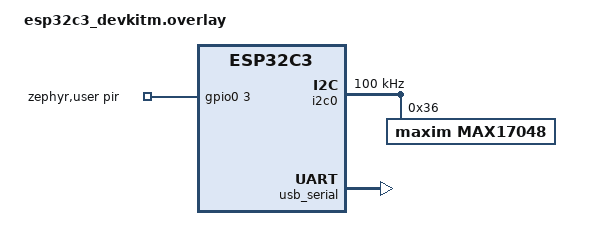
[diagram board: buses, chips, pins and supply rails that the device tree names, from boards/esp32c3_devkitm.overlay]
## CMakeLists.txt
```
cmake_minimum_required(VERSION 3.13.1)
find_package(Zephyr REQUIRED HINTS $ENV{ZEPHYR_BASE})
project(pir_ble)
# Trinity split -- each file can be swapped for a stub independently.
#
# Dependency order (strict -- never invert):
#   wdt_esp    -> standalone
#   canary_esp -> standalone
#   flash_esp  -> canary (noinit vars)
#   stats_esp  -> flash (via trinity_log_event), wdt
#   fault_esp  -> flash (via write_panic), canary (via g_init_stage)
target_sources(app PRIVATE
    src/main.c
    src/pir_hw_zephyr.c
    src/trinity_nvs_esp.c
    src/ble_adv.c
    src/max17048.c
    src/build_info.c
    src/trinity_wdt_esp.c
    src/trinity_canary_esp.c
    src/trinity_flash_esp.c
    src/trinity_stats_esp.c
    src/trinity_fault_esp.c
)

target_include_directories(app PRIVATE
    ../../../include
)
```

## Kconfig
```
# Application Kconfig — must source Zephyr main Kconfig first
source "Kconfig.zephyr"
source "$(APPLICATION_SOURCE_DIR)/Kconfig.trinity"

choice TRINITY_MODE
    prompt "Output transport"
    default TRINITY_MODE_FIELD
config TRINITY_MODE_FIELD
    bool "Field — UART console + reset"
config TRINITY_MODE_BENCH
    bool "Bench — RTT + SWD halt (J-Link)"
config TRINITY_MODE_USB
    bool "USB — CDC ACM (/dev/ttyACM0)"
endchoice
config TRINITY_MODE_STR
    string
    default "BENCH" if TRINITY_MODE_BENCH
    default "USB"   if TRINITY_MODE_USB
    default "FIELD"
```

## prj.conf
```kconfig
CONFIG_TRINITY_CHIP_ESP32C3=y
# Console and Logging
CONFIG_CONSOLE=y
CONFIG_PRINTK=y
CONFIG_LOG=y
CONFIG_LOG_MODE_DEFERRED=y
CONFIG_LOG_DEFAULT_LEVEL=3
# GPIO
CONFIG_GPIO=y
# I2C
CONFIG_I2C=y
# Bluetooth
CONFIG_BT=y
CONFIG_BT_PERIPHERAL=y
CONFIG_BT_DEVICE_NAME="PIR_Motion"
CONFIG_BT_SMP=n
CONFIG_BT_BROADCASTER=y
CONFIG_BT_OBSERVER=n
CONFIG_BT_GATT_SERVICE_CHANGED=n
# ========================= BLE ADDRESS =======================================
# CONFIG_BT_PRIVACY=n forces a static public address on every boot.
# Without this, Zephyr defaults to a Resolvable Private Address (RPA) that
# rotates on each advertising start. The ESP32 hub matches PIR slots by MAC
# address -- a rotating MAC causes the hub to treat each wake as a new
# device, fill the PIR slot table, and drop all subsequent advertisements
# until the old slot ages out (~170s). Static address eliminates the churn.
# PIR is a non-connectable broadcaster so there is no privacy benefit to RPA.
CONFIG_BT_PRIVACY=n
# Flash storage
CONFIG_FLASH=y
CONFIG_FLASH_MAP=y
CONFIG_FLASH_PAGE_LAYOUT=y
CONFIG_STREAM_FLASH=y
CONFIG_REBOOT=y
# ========================= POWER MANAGEMENT ==================================
# Deep sleep is implemented via ESP-IDF API (esp_deep_sleep_start) directly.
# Zephyr CONFIG_PM does NOT reach true deep sleep on ESP32-C3 and adds
# overhead without benefit -- do not enable it.
# USB console is incompatible with deep sleep -- field build uses UART only.
# Bench build disables deep sleep via bench.conf.
#
# NOTE: CONFIG_PM=y is required for CONFIG_POWEROFF=y to compile -- the
# Zephyr build system gates POWEROFF behind PM. CONFIG_PM itself does not
# activate Zephyr power management on ESP32-C3; esp_deep_sleep_start() is
# called directly via ESP-IDF and bypasses the Zephyr PM layer entirely.
# Effectively CONFIG_PM=y here is a build dependency, not a behavioral one.
#
# NOTE: CONFIG_POWEROFF=y was found required via grep during NVS integration
# work (2026-05-03). esp_deep_sleep_start() pulls in poweroff symbols at
# link time on this Zephyr/ESP32-C3 toolchain version. Without it the build
# fails with undefined reference errors. Not a runtime dependency -- purely
# a linker requirement for the ESP-IDF deep sleep path under Zephyr.
CONFIG_PM=y
CONFIG_POWEROFF=y
# ========================= TRINITY FAULT COVERAGE ============================
CONFIG_THREAD_NAME=y
CONFIG_THREAD_STACK_INFO=y
CONFIG_INIT_STACKS=y
# ========================= TRINITY WATCHDOG ==================================
CONFIG_WATCHDOG=y
CONFIG_WDT_DISABLE_AT_BOOT=n
# ========================= TRINITY HEAP STATS ================================
CONFIG_SYS_HEAP_RUNTIME_STATS=y
CONFIG_HEAP_MEM_POOL_SIZE=32768
# ========================= TRINITY THREAD STATS ==============================
CONFIG_THREAD_ANALYZER=y
CONFIG_THREAD_ANALYZER_USE_PRINTK=n
CONFIG_THREAD_ANALYZER_AUTO=n
CONFIG_THREAD_RUNTIME_STATS=y
# ========================= STACK SIZES =======================================
CONFIG_SYSTEM_WORKQUEUE_STACK_SIZE=3072
CONFIG_MAIN_STACK_SIZE=2048
CONFIG_ISR_STACK_SIZE=4096
CONFIG_LOG_PROCESS_THREAD_STACK_SIZE=2048
# ========================= NVS ===============================================
CONFIG_NVS=y
CONFIG_FLASH=y
CONFIG_FLASH_MAP=y
CONFIG_MPU_ALLOW_FLASH_WRITE=y
CONFIG_HW_STACK_PROTECTION=y
```

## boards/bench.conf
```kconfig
# Bench mode — USB-JTAG console, no deep sleep
#
# NOTE: USB console is incompatible with deep sleep. The USB peripheral
#       loses power during sleep and the connection drops every cycle.
#       Deep sleep is disabled here by design -- use the field build
#       (west build without EXTRA_CONF_FILE) for power profiling.
#       Do not enable CONFIG_PM or call esp_deep_sleep_start() in bench mode.
CONFIG_CONSOLE=y
CONFIG_UART_CONSOLE=y
CONFIG_LOG_BACKEND_UART=y
CONFIG_USB_DEVICE_STACK_NEXT=n
CONFIG_USBD_CDC_ACM_CLASS=n
CONFIG_PM=n
```

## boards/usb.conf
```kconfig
# USB CDC mode — console on /dev/ttyACM0
CONFIG_CONSOLE=y
CONFIG_UART_CONSOLE=y
CONFIG_USB_DEVICE_STACK_NEXT=y
CONFIG_USBD_CDC_ACM_CLASS=y
CONFIG_LOG_PROCESS_THREAD_STARTUP_DELAY_MS=4000
```

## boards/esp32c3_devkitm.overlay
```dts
/ {
    zephyr,user {
        pir_gpios = <&gpio0 3 (GPIO_ACTIVE_HIGH)>;
    };

    chosen {
        zephyr,console = &usb_serial;
        zephyr,shell-uart = &usb_serial;
    };
};

&i2c0 {
    status = "okay";
    pinctrl-0 = <&i2c0_default>;
    pinctrl-names = "default";
    clock-frequency = <I2C_BITRATE_STANDARD>;

    max17048: max17048@36 {
        compatible = "maxim,max17048";
        reg = <0x36>;
    };
};

&pinctrl {
    i2c0_default: i2c0_default {
        group1 {
            pinmux = <I2C0_SDA_GPIO6>,
                     <I2C0_SCL_GPIO7>;
            bias-pull-up;
            drive-open-drain;
        };
    };
};

&usb_serial {
    status = "okay";
};

/* COMMENTED OUT - Testing USB-JTAG console
&uart0 {
    status = "okay";
    current-speed = <115200>;
    pinctrl-0 = <&uart0_default>;
    pinctrl-names = "default";
};

&pinctrl {
    uart0_default: uart0_default {
        group1 {
            pinmux = <UART0_TX_GPIO21>;
        };
        group2 {
            pinmux = <UART0_RX_GPIO20>;
            bias-pull-up;
        };
    };
};
*/

&flash0 {
    partitions {
        compatible = "fixed-partitions";
        #address-cells = <1>;
        #size-cells = <1>;

        /*
         * storage_partition -- owned by trinity_nvs_esp.c (NVS).
         *
         * Used for persistent counters that must survive deep sleep
         * cycles. motion_count is stored here because RTC_DATA_ATTR
         * is a no-op on this Zephyr/ESP32-C3 toolchain combination --
         * the linker script has no .rtc.data section so variables
         * silently land in DRAM and reset to 0 on every wake.
         *
         * 176KB gives decades of NVS write endurance at 100 PIR
         * events/day. Do not place trinity flash log entries here --
         * that uses log_partition below (raw flash_area API, no NVS).
         */
        storage_partition: partition@3b0000 {
            label = "storage";
            reg = <0x3b0000 0x2C000>;
        };

        /*
         * log_partition -- owned by trinity_flash_esp.c (raw flash).
         *
         * Trinity crash log and event log. Uses flash_area API directly,
         * not NVS. Intentionally separate from storage_partition to
         * avoid any possibility of NVS sector management overwriting
         * crash log entries. Do not mount NVS on this partition.
         */
        log_partition: partition@3dc000 {
            label = "log-partition";
            reg = <0x3dc000 0x4000>;
        };
    };
};
```

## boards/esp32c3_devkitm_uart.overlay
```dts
/ {
    zephyr,user {
        pir_gpios = <&gpio0 3 (GPIO_ACTIVE_HIGH)>;
    };
    chosen {
        zephyr,console = &uart0;
        zephyr,shell-uart = &uart0;
    };
};

&i2c0 {
    status = "okay";
    pinctrl-0 = <&i2c0_default>;
    pinctrl-names = "default";
    clock-frequency = <I2C_BITRATE_STANDARD>;
    max17048: max17048@36 {
        compatible = "maxim,max17048";
        reg = <0x36>;
    };
};

&pinctrl {
    i2c0_default: i2c0_default {
        group1 {
            pinmux = <I2C0_SDA_GPIO6>,
                     <I2C0_SCL_GPIO7>;
            bias-pull-up;
            drive-open-drain;
        };
    };
    uart0_default: uart0_default {
        group1 {
            pinmux = <UART0_TX_GPIO21>;
        };
        group2 {
            pinmux = <UART0_RX_GPIO20>;
            bias-pull-up;
        };
    };
};

&uart0 {
    status = "okay";
    current-speed = <115200>;
    pinctrl-0 = <&uart0_default>;
    pinctrl-names = "default";
};

&usb_serial {
    status = "disabled";
};

/* Log partition — 64KB at end of 4MB flash for flash_log / fatal_hook */
&flash0 {
    partitions {
        compatible = "fixed-partitions";
        #address-cells = <1>;
        #size-cells = <1>;

        log_partition: partition@3f0000 {
            label = "log-partition";
            reg = <0x003f0000 0x00010000>;
        };
    };
};
```

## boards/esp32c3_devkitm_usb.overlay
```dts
/ {
    zephyr,user {
        pir_gpios = <&gpio0 3 GPIO_ACTIVE_HIGH>;
    };
    chosen {
        zephyr,console = &usb_serial;
        zephyr,shell-uart = &usb_serial;
    };
};

&i2c0 {
    status = "okay";
    pinctrl-0 = <&i2c0_default>;
    pinctrl-names = "default";
    clock-frequency = <I2C_BITRATE_STANDARD>;
    max17048: max17048@36 {
        compatible = "maxim,max17048";
        reg = <0x36>;
    };
};

&pinctrl {
    i2c0_default: i2c0_default {
        group1 {
            pinmux = <I2C0_SDA_GPIO6>,
                     <I2C0_SCL_GPIO7>;
            bias-pull-up;
            drive-open-drain;
        };
    };
};

&usb_serial {
    status = "okay";
};

&flash0 {
    partitions {
        compatible = "fixed-partitions";
        #address-cells = <1>;
        #size-cells = <1>;
        log_partition: partition@3f0000 {
            label = "log-partition";
            reg = <0x003f0000 0x00010000>;
        };
    };
};
```

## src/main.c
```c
/******************************************************************************
 * \file    main.c
 * \author  MichaelLynnCSU (https://github.com/MichaelLynnCSU)
 * \date    01-01-2025
 *
 * \brief   ESP32-C3 PIR BLE motion sensor entry point.
 *
 * \details Deep sleep architecture. main() runs once per wake cycle,
 *          detects wake reason, advertises a burst, configures wake
 *          sources, then calls esp_deep_sleep_start(). Every wake is
 *          a full reboot -- there is no main loop.
 *
 *          Wake sources (configured every cycle):
 *          - GPIO3 (PIR)  -- event-driven, wakes on HIGH
 *          - RTC timer    -- periodic heartbeat, DEEP_SLEEP_INTERVAL_US
 *
 *          Burst duration:
 *          - PIR wake     -- ADV_BURST_PIR_MS   (2000ms)
 *          - Timer wake   -- ADV_BURST_TIMER_MS  (300ms)
 *          - First boot   -- ADV_BURST_TIMER_MS  (300ms)
 *
 *          Occupied flag:
 *          Set in MFG payload byte[7] on PIR wake, clear on timer wake.
 *          Hub owns all occupancy window and timeout logic -- no sliding
 *          window on device. State resets every wake by design.
 *
 * \note    Architecture (2026-05-03):
 *          Sliding window occupancy logic moved to hub.
 *          Motivation: always-on BLE stack idles at ~52mA, limiting a
 *          3000mAh cell to ~57 hours (2.4 days). Deep sleep architecture
 *          measured at 19.93mA average over full wake/advertise/sleep
 *          cycles (PPK2, nRF Power Profiler), extending runtime to
 *          ~150 hours (~6.3 days) on the same cell. 2.6x improvement.
 *
 *          Device is now stateless per wake:
 *          - PIR wake   -> occupied=1, motion_count++, 2s burst, sleep
 *          - Timer wake -> occupied=0, 300ms burst, sleep
 *          Hub uses motion_count (monotonic, NVS-persistent) to detect
 *          missed BLE packets and owns all occupancy timeout logic.
 *          No window state is kept on device -- intentional by design.
 *
 * \note    WDT (2026-03-23):
 *          trinity_wdt_kick() called before any blocking operation.
 *          WDT timeout is 3s. Kick is issued immediately before the
 *          burst sleep to isolate the window to burst_ms only.
 *          Mid-burst kick fires if burst_ms >= WDT_TIMEOUT_MS.
 *
 * \note    Deep sleep power (2026-05-03):
 *          Always-on BLE advertising on ESP32-C3 idles at ~52mA due to
 *          the BLE stack requiring CPU involvement. Deep sleep drops
 *          average current to 19.93mA measured over real wake cycles.
 *          esp_deep_sleep_start() is __noreturn__ -- every wake is a
 *          full cold boot. Zephyr PM layer (CONFIG_PM) does not reach
 *          true deep sleep on ESP32-C3; use ESP-IDF API directly.
 *          CONFIG_PM=n in bench.conf -- USB console is incompatible with
 *          deep sleep (USB peripheral loses power during sleep).
 *
 * \note    Motion count persistence (2026-05-03):
 *          motion_count persisted via NVS (trinity_nvs_esp.c) on every
 *          confirmed PIR wake. Survives deep sleep cycles, resets only
 *          on power-on or hard reset.
 *
 *          RTC_DATA_ATTR was attempted first and does not work on this
 *          toolchain/Zephyr version. See CHANGELOG below for full details.
 *
 *          Hub uses delta between received motion_count values to detect
 *          missed BLE packets during lossy periods.
 *          All other state resets on every wake by design.
 *
 * \note    GPIO level-wake settle (2026-05-21):
 *          ESP_GPIO_WAKEUP_GPIO_HIGH is level-triggered. The AM312 holds
 *          its output HIGH for ~2-3s after firing. enter_deep_sleep()
 *          waits up to PIR_PIN_SETTLE_MS (2500ms) for GPIO3 to return
 *          LOW before arming the wake source, with trinity_wdt_kick()
 *          called on every 10ms iteration to prevent WDT expiry during
 *          the wait. If the pin does not settle (genuine sustained motion)
 *          sleep proceeds anyway -- correct behaviour.
 *
 * \note    Boot loop root cause (2026-05-21):
 *          Both sensors exhibited ~500 rapid boot cycles per sleep cycle.
 *          Root cause was flash corruption: the ESP simple bootloader
 *          stored a zeroed SHA-256 expected hash, causing a degraded boot
 *          path that re-triggered immediately after every deep sleep entry.
 *          Fix: full chip erase (esptool erase-flash) followed by reflash.
 *          The settle loop above is a separate improvement that prevents
 *          a real GPIO-level wake loop if the AM312 pin is still HIGH at
 *          sleep entry, but was not the cause of the ~500 cycle loop.
 *
 *****************************************************************************
 * CHANGELOG
 *
 * 2026-05-21 — Bug: ~500 cycle boot loop on every sleep entry
 *   PROBLEM:  Both PIR sensors looped ~500 rapid boot cycles between every
 *             real sleep cycle, visible as 400-500 dropped WDT messages in
 *             the trinity log. PIR 2 appeared worse because its battery was
 *             dead, making each loop iteration slightly longer. Extensive
 *             isolation testing ruled out: GPIO wake API, bt_disable(),
 *             WDT timing, DEEP_SLEEP_INTERVAL_US, and all application code.
 *             Root cause: flash corruption. The ESP simple bootloader had a
 *             zeroed SHA-256 expected hash (0000000090a30000...) indicating
 *             the bootloader metadata region had been partially overwritten,
 *             likely from repeated power-loss mid-write cycles during the
 *             low-battery boot loop on PIR 2. The degraded boot path reset
 *             the chip before the RTC timer could count, producing the loop.
 *   FIX:      Full chip erase followed by clean reflash on both units:
 *               esptool --port /dev/ttyACM0 erase-flash
 *               west flash --esp-device /dev/ttyACM0
 *             Boot loop eliminated. SHA-256 mismatch line still appears
 *             on every boot -- this is a known Zephyr ESP simple bootloader
 *             behaviour where the expected hash field is never populated at
 *             build time. It is cosmetic; boot proceeds correctly.
 *
 * 2026-05-21 — Improvement: GPIO3 settle wait before sleep
 *   PROBLEM:  ESP_GPIO_WAKEUP_GPIO_HIGH is level-triggered. The AM312
 *             holds its output HIGH for ~2-3s after a motion event. If
 *             esp_deep_sleep_start() is called before that window expires
 *             the chip wakes instantly on every cycle. This was masked by
 *             the flash corruption boot loop but would have reappeared
 *             after the erase fix under high motion conditions.
 *   FIX:      enter_deep_sleep() now waits up to PIR_PIN_SETTLE_MS
 *             (2500ms) for GPIO3 to go LOW before arming the wake source.
 *             trinity_wdt_kick() called on every 10ms iteration so the
 *             full wait window never trips the 3s watchdog.
 *
 * 2026-05-03 — Hardware: AM312 PIR false trigger fix
 *   PROBLEM:  GPIO3 read 1.28V only when physically touching the wire or
 *             board -- not the PIR firing. Body capacitance was sufficient
 *             to lift a floating pin to ~1.28V, which crossed the ESP32-C3
 *             GPIO HIGH threshold and triggered a spurious wake. A properly
 *             driven signal would jump to 2.6-3V and hold there -- the
 *             1.28V that only appeared on touch confirmed no actual driver
 *             on the line.
 *             AM312 OUT measured 2.6V when disconnected from ESP32,
 *             collapsed to 1.28V the moment it was connected to GPIO3.
 *             Root cause: AM312 output is essentially open-drain with a
 *             weak internal pull-up. It cannot source enough current to
 *             overcome the ESP32-C3 internal pull-down (~45kΩ). The two
 *             were fighting and the pull-down was winning -- any real
 *             motion signal was also being suppressed.
 *   FIX:      Disabled the internal pull-down on GPIO3. AM312 now drives
 *             cleanly to 2.6-3V on motion, returns to 0V at idle.
 *             Debounce check (10ms settle + PIN re-read) retained in
 *             software to catch any residual transient wakes.
 *
 * 2026-05-03 — Architecture: always-on BLE -> deep sleep
 *   PROBLEM:  Always-on BLE advertising required continuous CPU involvement
 *             on ESP32-C3, idling at ~52mA average. On a 3000mAh cell this
 *             gives ~57 hours (2.4 days) of runtime.
 *   FIX:      Replaced always-on loop with deep sleep architecture.
 *             main() runs once per wake cycle, advertises a short burst,
 *             then calls esp_deep_sleep_start() (noreturn). Every wake is
 *             a full cold boot. Wake sources: GPIO3 (PIR) and RTC timer
 *             (30s heartbeat). Average current measured at 19.93mA over
 *             a 3m49s sample window capturing full wake/advertise/sleep
 *             cycles (PPK2, nRF Power Profiler). Runtime on 3000mAh cell:
 *             ~150 hours (~6.3 days). 2.6x improvement over always-on.
 *             CONFIG_PM=n -- Zephyr PM layer does not reach true deep sleep
 *             on ESP32-C3. ESP-IDF esp_deep_sleep_start() used directly.
 *
 * 2026-05-03 — Bug: motion_count not persisting across deep sleep
 *   PROBLEM:  motion_count declared as `static RTC_DATA_ATTR uint32_t`.
 *             The `static` storage class caused the compiler to commit the
 *             symbol to DRAM first; RTC_DATA_ATTR section attribute was
 *             silently ignored. Boot log confirmed: `load:0x50000000,
 *             len:0xc` (12 bytes in RTC -- only the wake stub, not
 *             motion_count). DRAM is reloaded from flash on every deep
 *             sleep wake so motion_count reset to 0 every boot and count
 *             always showed 1.
 *             Root cause: Zephyr ESP32-C3 linker script has no proper
 *             .rtc.data section. RTC_DATA_ATTR is a no-op for data
 *             variables in this toolchain/Zephyr version combination.
 *   FIX:      Removed RTC_DATA_ATTR entirely. Added trinity_nvs_esp.c --
 *             a dedicated NVS persistence module using storage_partition
 *             (0x3b0000, 176KB). motion_count is read from NVS on every
 *             wake and written to NVS only on confirmed PIR wakes.
 *
 * 2026-05-03 — Hardware: AM312 false triggers on battery power
 *   PROBLEM:  PIR count incrementing with no movement when running on
 *             battery. AM312 was physically close to the LiPo cell.
 *             Battery warms under load (BLE TX, flash writes) and the
 *             thermal change falls within the AM312 detection cone.
 *   FIX:      Moved AM312 away from battery. Keep PIR and LiPo thermally
 *             separated in final enclosure.
 ******************************************************************************/

#include <zephyr/kernel.h>
#include <zephyr/device.h>
#include <zephyr/drivers/i2c.h>
#include <zephyr/logging/log.h>
#include <string.h>
#include <esp_sleep.h>
#include "pir_hw.h"
#include "ble_adv.h"
#include "max17048.h"
#include "trinity_log.h"
#include "main.h"

LOG_MODULE_REGISTER(pir_main, LOG_LEVEL_INF);

#define PIR_PIN           3
#define PIR_PIN_SETTLE_MS 2500u

/*----------------------------------------------------------------------------*/

static void enter_deep_sleep(void)
{
    trinity_wdt_kick();
    int settle_ms = (int)PIR_PIN_SETTLE_MS;
    while ((pir_hw_read() == 1) && (settle_ms > 0))
    {
        k_sleep(K_MSEC(10));
        settle_ms -= 10;
        trinity_wdt_kick();
    }
    if (settle_ms < (int)PIR_PIN_SETTLE_MS)
    {
        LOG_INF("GPIO3 settle wait: %dms",
                (int)PIR_PIN_SETTLE_MS - settle_ms);
    }

    esp_sleep_enable_timer_wakeup(DEEP_SLEEP_INTERVAL_US);
    esp_deep_sleep_enable_gpio_wakeup(1ULL << PIR_PIN,
                                       ESP_GPIO_WAKEUP_GPIO_HIGH);

    LOG_INF("Entering deep sleep (timer=%llu us, GPIO%d wake)",
            (unsigned long long)DEEP_SLEEP_INTERVAL_US, PIR_PIN);

    trinity_log_flush();
    esp_deep_sleep_start(); /* noreturn */
}

/*----------------------------------------------------------------------------*/

int main(void)
{
    int      ret       = 0;
    int      mv        = 0;
    uint8_t  batt_soc  = 0;
    uint8_t  occupied  = 0;
    uint32_t burst_ms  = 0;

    esp_sleep_wakeup_cause_t wake_reason = esp_sleep_get_wakeup_cause();

    LOG_INF("===========================================");
    LOG_INF("  ESP32-C3 PIR BLE Motion Sensor");
    LOG_INF("  Wake: %d", (int)wake_reason);
    LOG_INF("===========================================");

    trinity_log_dump_previous();
    trinity_log_init();
    trinity_wdt_init();
    trinity_wdt_kick();

    /* --- EMERGENCY I2C DIAGNOSTIC SCAN --- */
    const struct device *const i2c_dev = DEVICE_DT_GET(DT_NODELABEL(i2c0));
    if (!device_is_ready(i2c_dev)) {
        LOG_ERR("[I2C SCAN] Peripheral device i2c0 is NOT ready!");
    } else {
        LOG_INF("[I2C SCAN] Starting bus scan on i2c0...");
        uint8_t dummy_rx;
        int found_count = 0;
        for (uint8_t addr = 0x01; addr <= 0x7F; addr++) {
            struct i2c_msg msgs[1];
            msgs[0].buf   = &dummy_rx;
            msgs[0].len   = 0;
            msgs[0].flags = I2C_MSG_WRITE | I2C_MSG_STOP;
            if (i2c_transfer(i2c_dev, msgs, 1, addr) == 0) {
                LOG_INF("[I2C SCAN] >>> Found at 0x%02X <<<", addr);
                found_count++;
            }
        }
        if (found_count == 0) {
            LOG_WRN("[I2C SCAN] Zero devices responded.");
        } else {
            LOG_INF("[I2C SCAN] Found %d device(s).", found_count);
        }
    }
    /* --- END DIAGNOSTIC SCAN --- */

    trinity_nvs_init();
    uint32_t motion_count = trinity_nvs_read_motion_count();

    ret = pir_hw_init();
    if (0 != ret)
    {
        LOG_ERR("GPIO not ready");
        enter_deep_sleep();
        return 0;
    }

    switch (wake_reason)
    {
        case ESP_SLEEP_WAKEUP_GPIO:
            k_sleep(K_MSEC(10));
            if (pir_hw_read() != 1)
            {
                LOG_WRN("GPIO wake but PIN low -- false trigger");
                occupied = 0;
                burst_ms = ADV_BURST_TIMER_MS;
                break;
            }
            motion_count++;
            trinity_nvs_write_motion_count(motion_count);
            occupied = 1;
            burst_ms = ADV_BURST_PIR_MS;
            trinity_log_event("EVENT: MOTION\n");
            LOG_INF("PIR wake -- motion detected (count=%u)", motion_count);
            break;

        case ESP_SLEEP_WAKEUP_TIMER:
            occupied = 0;
            burst_ms = ADV_BURST_TIMER_MS;
            LOG_INF("Timer wake -- heartbeat");
            break;

        default:
            occupied = 0;
            burst_ms = ADV_BURST_TIMER_MS;
            trinity_log_event("EVENT: BOOT\n");
            LOG_INF("Cold boot");
            break;
    }

    trinity_wdt_kick();

    max17048_init();
    batt_soc = (uint8_t)max17048_read_soc();
    mv       = max17048_read_mv();
    LOG_INF("Battery: %d%% (%d mV)", batt_soc, mv);
    LOG_INF("Advertising %ums | count=%u occ=%d batt=%d%%",
            burst_ms, motion_count, occupied, batt_soc);

    trinity_wdt_kick();

    ret = ble_adv_init(motion_count, batt_soc, occupied);
    if (0 != ret)
    {
        LOG_ERR("BLE init failed (%d) -- sleeping", ret);
        enter_deep_sleep();
        return 0;
    }
    trinity_wdt_kick();

    if (burst_ms >= WDT_TIMEOUT_MS)
    {
        k_sleep(K_MSEC(burst_ms / 2U));
        trinity_wdt_kick();
        k_sleep(K_MSEC(burst_ms / 2U));
    }
    else
    {
        k_sleep(K_MSEC(burst_ms));
    }

    trinity_wdt_kick();

    bt_disable();

    enter_deep_sleep(); /* noreturn */

    return 0;
}
```

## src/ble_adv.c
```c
/******************************************************************************
 * \file    ble_adv.c
 * \author  MichaelLynnCSU (https://github.com/MichaelLynnCSU)
 * \date    01-01-2025
 *
 * \brief   BLE advertising for ESP32-C3 PIR motion sensor node.
 *
 * \details Non-connectable broadcaster. Manufacturer data payload carries
 *          motion count (4 bytes), battery SOC (1 byte), occupied flag
 *          (1 byte), and tx_id (2 bytes). Device advertises a single burst
 *          per wake then sleeps.
 *
 *          Occupancy window and timeout logic live entirely on the hub.
 *          motion_count is monotonic (RTC-persistent) -- hub uses delta
 *          between packets to detect missed events during BLE lossy periods.
 *
 *          MFG data layout (10 bytes):
 *          [0]   = 0xFF  (company ID low  -- no registered ID, sentinel)
 *          [1]   = 0xFF  (company ID high)
 *          [2]   = motion_count >> 24
 *          [3]   = motion_count >> 16
 *          [4]   = motion_count >>  8
 *          [5]   = motion_count & 0xFF
 *          [6]   = batt_soc (0-100%)
 *          [7]   = occupied (0=empty, 1=occupied)
 *          [8]   = tx_id low byte  (little-endian)
 *          [9]   = tx_id high byte (little-endian)
 *
 * \note    BT_SMP disabled (2026-03-23):
 *          CONFIG_BT_SMP=n -- PIR is broadcaster-only, no pairing needed.
 *          Null SMP callbacks are a KERNEL_OOPS vector if a phone attempts
 *          pairing. Matches the fix applied to reed-sensor.
 *
 * \note    AD flags (2026-05-03):
 *          BT_LE_AD_GENERAL removed -- General Discoverable Mode implies
 *          a connectable GAP role and violates the BT spec for a
 *          non-connectable broadcaster. BT_LE_AD_NO_BREDR (0x04) only.
 *
 * \note    Structured event tracing -- tx_id (2026-06-16):
 *          s_tx_id counter added. Incremented on every ble_adv_init() call
 *          (one per wake cycle). Stamped into mfg_data[8..9] little-endian
 *          before advertising starts. Hub reads it from mfg_data[8..9] with
 *          mfg_len >= 10 guard. Older hub firmware ignores extra bytes.
 *
 *          tx_id is a per-wake-session counter (RAM only, resets each boot).
 *          Correlation key is (MAC + tx_id) within a bounded time window.
 *          It is NOT a global unique message ID -- do not use for dedup or
 *          audit. Log lines on both sides share the same key:
 *
 *            [ble_adv] tx_id=1 count=42 batt=87%
 *            [BLE_PIR] tx_id=1 event_id=101 slot=0 count=42 batt=87%
 *
 *          To apply this pattern to the next device type:
 *          1. Add MFG_TX_ID_LO_IDX / HI_IDX defines in main.h.
 *          2. Grow MFG_DATA_SIZE by 2 in main.h.
 *          3. Add s_tx_id static here, increment before payload write.
 *          4. Stamp [LO] and [HI] bytes, LOG_INF tx_id=.
 *          5. Hub side: guard on mfg_len >= (HI_IDX + 1), default 0.
 ******************************************************************************/
#include "ble_adv.h"
#include "main.h"
#include <zephyr/bluetooth/bluetooth.h>
#include <zephyr/bluetooth/hci.h>
#include <zephyr/bluetooth/addr.h>
#include <zephyr/logging/log.h>
#include <string.h>

LOG_MODULE_REGISTER(ble_adv, LOG_LEVEL_INF);

static uint16_t s_tx_id = 0; /**< per-wake-session broadcast counter; RAM only,
                               *   resets each boot. Not a global unique ID.   */

static uint8_t mfg_data[MFG_DATA_SIZE] = {
    MFG_COMPANY_ID_0,
    MFG_COMPANY_ID_1,
    0x00, 0x00, 0x00, 0x00,  /* motion count -- zeroed until ble_adv_init()   */
    0x00,                     /* batt soc                                       */
    0x00,                     /* occupied                                       */
    0x00,                     /* tx_id low byte                                 */
    0x00                      /* tx_id high byte                                */
};

static struct bt_data adv_data[] = {
    /* BT_LE_AD_GENERAL intentionally absent -- broadcaster-only, non-connectable */
    BT_DATA_BYTES(BT_DATA_FLAGS, BT_LE_AD_NO_BREDR),
    BT_DATA(BT_DATA_NAME_COMPLETE, CONFIG_BT_DEVICE_NAME,
            sizeof(CONFIG_BT_DEVICE_NAME) - 1),
    BT_DATA(BT_DATA_MANUFACTURER_DATA, mfg_data, sizeof(mfg_data))
};

/* BT_LE_ADV_OPT_USE_IDENTITY fix (2026-05-20):
 * BT_LE_ADV_OPT_NONE allowed Zephyr to advertise with a randomly generated
 * address on each wake cycle regardless of CONFIG_BT_PRIVACY=n. The ESP32
 * hub matches PIR slots by MAC -- a rotating MAC caused the hub to treat
 * each wake as a new device, fill the PIR slot table (MAX_PIRS=2), and drop
 * all subsequent advertisements until the old slot aged out (~170s).
 * BT_LE_ADV_OPT_USE_IDENTITY forces the chip to use its static identity
 * address (set once at provisioning) for every advertisement. Matches the
 * pattern used by reed-sensor/src/ble_adv.c. */
static const struct bt_le_adv_param adv_param = {
    .id           = BT_ID_DEFAULT,
    .options      = BT_LE_ADV_OPT_USE_IDENTITY,
    .interval_min = BT_GAP_ADV_SLOW_INT_MIN,
    .interval_max = BT_GAP_ADV_SLOW_INT_MAX,
};

/*----------------------------------------------------------------------------*/

static void print_mac(void)
{
    bt_addr_le_t id_addr;
    size_t       count = 1;
    char         addr_str[BT_ADDR_LE_STR_LEN];

    bt_id_get(&id_addr, &count);
    if (0 == count) { LOG_WRN("No BLE identity found"); return; }
    bt_addr_le_to_str(&id_addr, addr_str, sizeof(addr_str));
    LOG_INF("BLE MAC: %s", addr_str);
}

/*----------------------------------------------------------------------------*/

int ble_adv_init(uint32_t motion_count, uint8_t batt_soc, uint8_t occupied)
{
    /* Pre-populate payload before advertising starts -- hub may catch
     * the first packet before ble_adv_update() is called. */
    pack_motion_count(mfg_data, motion_count);
    mfg_data[MFG_BATT_IDX]     = batt_soc;
    mfg_data[MFG_OCCUPIED_IDX] = occupied;

    s_tx_id++;
    mfg_data[MFG_TX_ID_LO_IDX] = (uint8_t)(s_tx_id & 0xFF);
    mfg_data[MFG_TX_ID_HI_IDX] = (uint8_t)(s_tx_id >> 8);
    LOG_INF("tx_id=%u count=%u batt=%u%%", s_tx_id, motion_count, batt_soc);

    int ret = bt_enable(NULL);
    if (0 != ret)
    {
        LOG_ERR("BLE init failed (%d)", ret);
        return ret;
    }
    LOG_INF("BLE initialized");

    ret = bt_le_adv_start(&adv_param, adv_data, ARRAY_SIZE(adv_data), NULL, 0);
    if (0 != ret)
    {
        LOG_ERR("Advertising failed (%d)", ret);
        return ret;
    }
    LOG_INF("Advertising started");
    print_mac();
    return 0;
}
```

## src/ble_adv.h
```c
/******************************************************************************
 * \file    ble_adv.h
 * \author  MichaelLynnCSU (https://github.com/MichaelLynnCSU)
 * \date    01-01-2025
 *
 * \brief   BLE advertising API for ESP32-C3 PIR motion sensor node.
 ******************************************************************************/

#ifndef BLE_ADV_H
#define BLE_ADV_H

#include <stdint.h>

/**
 * \brief  Initialise and start BLE advertising.
 *         Enables BT stack, starts slow-interval broadcaster advertisement.
 *         Increments s_tx_id (per-wake-session counter, RAM only) and stamps
 *         it into mfg_data[8..9] little-endian before advertising starts.
 *         Logs tx_id, motion count, and battery SOC on success.
 *
 *         tx_id is NOT a global unique message ID. Correlation key is
 *         (MAC + tx_id) within a bounded time window.
 *
 * \return 0 on success, negative errno on failure.
 */
int ble_adv_init(uint32_t motion_count, uint8_t batt_soc, uint8_t occupied);

#endif /* BLE_ADV_H */
```

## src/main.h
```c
#ifndef MAIN_H
#define MAIN_H
#include <stdint.h>
#include <zephyr/bluetooth/bluetooth.h>

/* Advertisement burst durations */
#define ADV_BURST_PIR_MS      2000U   /* PIR wake   -- long burst  */
#define ADV_BURST_TIMER_MS     300U   /* Timer wake -- short burst */

/* Deep sleep heartbeat interval -- 30 seconds in microseconds.
 *
 * Hub sliding window configuration (ble_scan.c) this must align with:
 *   PIR_WINDOW_SEC       = 60s  -- window width for occupancy detection
 *   PIR_WINDOW_THRESHOLD = 2    -- events required within window
 *   PIR_HOLD_SEC         = 600s -- hold duration after last trigger
 *
 * At 30s heartbeat, two motion events within the 60s window still
 * satisfies PIR_WINDOW_THRESHOLD correctly. Hub comment states the
 * window cannot meaningfully be smaller than ~20-30s -- 30s heartbeat
 * sits at that boundary and is the maximum safe interval.
 *
 * Hub online/offline threshold (ble_manager.c):
 *   BLE_DEV_PIR age < 60s -- updated from 30s to match 30s heartbeat.
 *   At 30s heartbeat the device age can reach ~30s between packets
 *   during normal operation. A 30s threshold would cause false offline
 *   flickers. 60s gives 2x the heartbeat interval as margin.
 *
 * Power impact of change from 10s to 30s:
 *   10s cycle: ~19.93mA average -- ~6.3 days on 3000mAh LiPo
 *   30s cycle: ~6.6mA projected -- ~18-19 days on 3000mAh LiPo
 *   3x improvement from one constant change. */
#define DEEP_SLEEP_INTERVAL_US  (30ULL * 1000ULL * 1000ULL)

/* WDT timeout -- burst sleep kicks before AND mid-burst if >= this value */
#define WDT_TIMEOUT_MS        3000U

/*
 * MFG data layout (10 bytes):
 * [0]   = 0xFF  company ID low
 * [1]   = 0xFF  company ID high
 * [2]   = motion_count >> 24
 * [3]   = motion_count >> 16
 * [4]   = motion_count >>  8
 * [5]   = motion_count & 0xFF
 * [6]   = batt_soc (0-100%)
 * [7]   = occupied (0=empty, 1=occupied)
 * [8]   = tx_id low byte  (little-endian, per-wake-session counter)
 * [9]   = tx_id high byte (little-endian, per-wake-session counter)
 *
 * tx_id is a per-wake-session counter (RAM only, resets each boot).
 * Correlation key is (MAC + tx_id) within a bounded time window.
 * It is NOT a global unique message ID -- do not use for dedup or audit.
 *
 * Graceful degradation: hub checks mfg_len >= 10 before reading [8..9].
 * Old firmware (8-byte payload) produces tx_id=0 on the hub -- no crash.
 */
#define MFG_DATA_SIZE           10
#define MFG_COMPANY_ID_0     0xFF
#define MFG_COMPANY_ID_1     0xFF
#define MFG_MOTION_MSB_IDX      2
#define MFG_MOTION_B2_IDX       3
#define MFG_MOTION_B1_IDX       4
#define MFG_MOTION_LSB_IDX      5
#define MFG_BATT_IDX            6
#define MFG_OCCUPIED_IDX        7    /* 0=empty, 1=occupied              */
#define MFG_TX_ID_LO_IDX        8    /* tx_id low byte  (little-endian)  */
#define MFG_TX_ID_HI_IDX        9    /* tx_id high byte (little-endian)  */

static inline void pack_motion_count(uint8_t *mfg, uint32_t count)
{
    mfg[2] = (count >> 24) & 0xFF;
    mfg[3] = (count >> 16) & 0xFF;
    mfg[4] = (count >>  8) & 0xFF;
    mfg[5] =  count        & 0xFF;
}

static inline uint32_t unpack_motion_count(const uint8_t *mfg)
{
    return ((uint32_t)mfg[2] << 24) |
           ((uint32_t)mfg[3] << 16) |
           ((uint32_t)mfg[4] <<  8) |
            (uint32_t)mfg[5];
}

#endif /* MAIN_H */
```

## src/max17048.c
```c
#include "max17048.h"
#include <zephyr/kernel.h>
#include <zephyr/drivers/i2c.h>
#include <zephyr/logging/log.h>

LOG_MODULE_REGISTER(max17048, LOG_LEVEL_INF);

#define MAX17048_ADDR       0x36
#define REG_VCELL           0x02  /* Cell voltage */
#define REG_SOC             0x04  /* State of charge */
#define REG_MODE            0x06  /* Mode register */
#define REG_VERSION         0x08  /* IC version */

static const struct i2c_dt_spec dev = I2C_DT_SPEC_GET(DT_NODELABEL(max17048));

static int read_reg16(uint8_t reg, uint16_t *val)
{
    uint8_t buf[2];
    int rc = i2c_write_read_dt(&dev, &reg, 1, buf, 2);
    if (rc != 0) return rc;
    *val = (buf[0] << 8) | buf[1];
    return 0;
}

int max17048_init(void)
{
    if (!i2c_is_ready_dt(&dev)) {
        LOG_ERR("I2C device not ready");
        return -1;
    }

    uint16_t version;
    if (read_reg16(REG_VERSION, &version) != 0) {
        LOG_ERR("MAX17048 not found on I2C bus");
        return -1;
    }

    LOG_INF("MAX17048 found, version: 0x%04x", version);
    return 0;
}

int max17048_read_mv(void)
{
    uint16_t raw;
    if (read_reg16(REG_VCELL, &raw) != 0) return -1;

    /* VCELL: 1 LSB = 78.125uV, result in mV */
    int mv = (raw >> 4) * 1000 / 800;
    return mv;
}

int max17048_read_soc(void)
{
    uint16_t raw;
    if (read_reg16(REG_SOC, &raw) != 0) return -1;

    /* SOC: upper byte = %, lower byte = 1/256% */
    int soc = raw >> 8;
    return soc;
}
```

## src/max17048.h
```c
#pragma once
int max17048_init(void);
int max17048_read_soc(void);     /* returns 0-100 % */
int max17048_read_mv(void);      /* returns cell voltage in mV */
```

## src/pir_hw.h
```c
#ifndef PIR_HW_H
#define PIR_HW_H
/**
 * \brief  Initialise PIR GPIO pin as input.
 * \return 0 on success, negative errno on failure.
 */
int pir_hw_init(void);

/**
 * \brief  Read current PIR pin state.
 * \return 1=HIGH (motion), 0=LOW (idle), negative errno on failure.
 */
int pir_hw_read(void);
#endif /* PIR_HW_H */
```

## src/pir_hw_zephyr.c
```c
/******************************************************************************
 * \file    pir_hw_zephyr.c
 * \brief   Zephyr GPIO binding for AM312 PIR sensor.
 *
 * \details Implements pir_hw.h using Zephyr GPIO API.
 *          All Zephyr GPIO includes isolated here.
 *          main.c calls through pir_hw.h and has no GPIO dependency.
 ******************************************************************************/

#include "pir_hw.h"
#include <zephyr/drivers/gpio.h>
#include <zephyr/logging/log.h>

LOG_MODULE_DECLARE(pir_main, LOG_LEVEL_INF);

#define PIR_PIN   3
#define GPIO_NODE DT_NODELABEL(gpio0)

static const struct device *g_gpio;

/*----------------------------------------------------------------------------*/

int pir_hw_init(void)
{
    g_gpio = DEVICE_DT_GET(GPIO_NODE);
    if (!device_is_ready(g_gpio))
    {
        LOG_ERR("GPIO not ready");
        return -ENODEV;
    }
    return gpio_pin_configure(g_gpio, PIR_PIN, GPIO_INPUT);
}

/*----------------------------------------------------------------------------*/

int pir_hw_read(void)
{
    if (!g_gpio) return -ENODEV;
    return gpio_pin_get(g_gpio, PIR_PIN);
}
```

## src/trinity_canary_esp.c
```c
/******************************************************************************
 * \file trinity_canary_esp.c
 * \brief Trinity pre-init canary and noinit variables -- ESP32-C3 Zephyr.
 *
 * \details Fully standalone -- no dependencies on other Trinity files.
 *          Owns all .noinit variables. Registers canary_pre_init() at
 *          PRE_KERNEL_1,0 so it runs before any driver SYS_INIT can crash.
 *
 * \note    On ESP32-C3 .noinit ELF section is used (same as nRF52840).
 *          The Zephyr linker script for ESP32-C3 supports .noinit.
 *          Heap-allocated stat buffer fix applies here too -- static BSS
 *          arrays can cross .noinit boundary same as nRF52840.
 ******************************************************************************/

#include "trinity_log.h"
#include "trinity_private_esp.h"
#include <zephyr/init.h>

volatile uint32_t g_noinit_guard
    __attribute__((section(".noinit")));

volatile uint32_t g_init_stage
    __attribute__((section(".noinit")));

static volatile uint32_t g_pre_init_canary
    __attribute__((section(".noinit")));

volatile uint32_t g_canary_snapshot
    __attribute__((section(".noinit")));

static int canary_pre_init(void)
{
    g_canary_snapshot = g_pre_init_canary;
    g_pre_init_canary = TRINITY_CANARY_ALIVE;
    return 0;
}
SYS_INIT(canary_pre_init, PRE_KERNEL_1, 0);

void trinity_canary_set_booted(void)
{
    g_pre_init_canary = TRINITY_CANARY_BOOTED;
}
```

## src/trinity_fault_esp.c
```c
/******************************************************************************
 * \file trinity_fault_esp.c
 * \brief Trinity fault handler -- ESP32-C3 Zephyr (RISC-V).
 *
 * \details Overrides k_sys_fatal_error_handler(). Captures RISC-V mepc/ra
 *          and writes to flash via write_panic() (no mutex path).
 *
 *          Key differences from nRF52840 version:
 *            - RISC-V fault frame: mepc/ra instead of pc/lr
 *            - irq_lock() instead of __disable_irq()
 *            - sys_reboot(SYS_REBOOT_COLD) instead of NVIC_SystemReset()
 *            - No SCB registers (ARM-specific)
 *            - No #include <nrf.h>
 ******************************************************************************/

#include "trinity_log.h"
#include "trinity_private_esp.h"
#include <zephyr/kernel.h>
#include <zephyr/fatal.h>
#include <zephyr/sys/reboot.h>
#include <stdio.h>

#define CRASH_BUF_SIZE  80u

static const char *reason_to_str(unsigned int reason)
{
   switch (reason)
   {
      case K_ERR_CPU_EXCEPTION:  { return "CPU_EXCEPTION";  }
      case K_ERR_SPURIOUS_IRQ:   { return "SPURIOUS_IRQ";   }
      case K_ERR_STACK_CHK_FAIL: { return "STACK_OVERFLOW"; }
      case K_ERR_KERNEL_OOPS:    { return "KERNEL_OOPS";    }
      case K_ERR_KERNEL_PANIC:   { return "KERNEL_PANIC";   }
      default:                   { return "UNKNOWN";        }
   }
}

__attribute__((unused))
static const char *stage_to_str(uint32_t stage)
{
   switch (stage)
   {
      case TRINITY_STAGE_RESET:     { return "RESET";     }
      case TRINITY_STAGE_GPIO:      { return "GPIO";      }
      case TRINITY_STAGE_BATTERY:   { return "BATTERY";   }
      case TRINITY_STAGE_NVS_INIT:  { return "NVS_INIT";  }
      case TRINITY_STAGE_NVS_LOAD:  { return "NVS_LOAD";  }
      case TRINITY_STAGE_LOG_INIT:  { return "LOG_INIT";  }
      case TRINITY_STAGE_WDT_INIT:  { return "WDT_INIT";  }
      case TRINITY_STAGE_BT_ENABLE: { return "BT_ENABLE"; }
      case TRINITY_STAGE_BT_ADV:    { return "BT_ADV";    }
      case TRINITY_STAGE_MAIN_LOOP: { return "MAIN_LOOP"; }
      default:                      { return "UNKNOWN";   }
   }
}

void k_sys_fatal_error_handler(unsigned int reason,
                                const struct arch_esf *p_esf)
{
   char msg[CRASH_BUF_SIZE] = {0};

   if (NULL != p_esf)
   {
      /* RISC-V: mepc = machine exception PC, ra = return address */
      (void)snprintf(msg, sizeof(msg),
                     "EVENT: CRASH | TYPE: %s | PC: 0x%08X | RA: 0x%08X"
                     " | STG: 0x%04X\n",
                     reason_to_str(reason),
                     (unsigned int)p_esf->mepc,
                     (unsigned int)p_esf->ra,
                     (unsigned int)g_init_stage);
   }
   else
   {
      (void)snprintf(msg, sizeof(msg),
                     "EVENT: CRASH | TYPE: %s | PC: unknown | STG: 0x%04X\n",
                     reason_to_str(reason),
                     (unsigned int)g_init_stage);
   }

   write_panic(msg, (uint16_t)strlen(msg));

   /* v2 crash contract: additionally build the canonical record from the
    * same mepc/ra already captured above, and call trinity_crash_store()
    * (trinity_flash_esp.c). Additive -- does not replace the msg line
    * above.
    *
    * arch_data.riscv fields, verified against this project's actual
    * struct arch_esf (zephyr/include/zephyr/arch/riscv/exception.h):
    *   mepc, mstatus -- real members here, populated below.
    *   mcause -- only exists in arch_esf when
    *             CONFIG_CLIC_SUPPORT_INTERRUPT_LEVEL is set; confirmed
    *             NOT set in this project's build (.config), so this
    *             field is unconditionally absent from the struct here,
    *             not just unpopulated. Left reserved/zero.
    *   mtval -- does not exist in struct arch_esf on RISC-V Zephyr at
    *            all (any config). Left reserved/zero permanently on
    *            this platform. */
   TRINITY_CRASH_RECORD_X record = {0};
   record.magic        = TRINITY_CRASH_MAGIC;
   record.version      = TRINITY_CRASH_VERSION;
   record.arch         = TRINITY_ARCH_RISCV;
   record.error        = (K_ERR_STACK_CHK_FAIL == reason) ? eTRINITY_ERR_STACK
                                                            : eTRINITY_ERR_HARDFAULT;
   record.reset_reason = 0u;
   record.pc           = (NULL != p_esf) ? (uint32_t)p_esf->mepc : 0u;
   record.lr           = (NULL != p_esf) ? (uint32_t)p_esf->ra   : 0u;
   if (NULL != p_esf)
   {
      record.arch_data.riscv.mepc    = (uint32_t)p_esf->mepc;
      record.arch_data.riscv.mstatus = (uint32_t)p_esf->mstatus;
   }
   trinity_crash_store(&record);

#if defined(CONFIG_TRINITY_MODE_BENCH)
   printk("\n[TRINITY] === FAULT HALT ===\n");
   printk("[TRINITY] %s", msg);
   printk("[TRINITY] STG: 0x%04X -- %s\n",
          (unsigned int)g_init_stage, stage_to_str(g_init_stage));
   printk("[TRINITY] === HALTED -- attach OpenOCD ===\n");
   irq_lock();
   while (1) {}

#elif defined(CONFIG_TRINITY_MODE_USB)
   printk("[TRINITY] %s", msg);
   k_sleep(K_MSEC(500));
   irq_lock();
   sys_reboot(SYS_REBOOT_COLD);

#else
   irq_lock();
   sys_reboot(SYS_REBOOT_COLD);
#endif
}
```

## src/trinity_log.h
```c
/******************************************************************************
 * \file trinity_log.h
 * \brief Trinity crash logger public API -- ESP32-C3 Zephyr.
 *
 *          Typical boot sequence:
 *          1. trinity_log_dump_previous()  -- safe to call early (no WDT issue)
 *          2. trinity_log_init()           -- init flash + heap alloc
 *          3. trinity_log_event("EVENT: BOOT\n")
 *          4. trinity_wdt_init()           -- bench: no-op; field: arm WDT
 *          5. trinity_wdt_kick()
 *          6. trinity_log_event() as needed
 ******************************************************************************/

#ifndef INCLUDE_TRINITY_LOG_H_
#define INCLUDE_TRINITY_LOG_H_

#include <zephyr/kernel.h>

/**************************** CANARY VALUES ***********************************/

#define TRINITY_CANARY_ALIVE   0xCA11AB1EU
#define TRINITY_CANARY_BOOTED  0xB007ED00U

/**************************** INIT STAGE COOKIE *******************************/

#define TRINITY_STAGE_RESET         0x0000u
#define TRINITY_STAGE_GPIO          0x0101u
#define TRINITY_STAGE_BATTERY       0x0102u
#define TRINITY_STAGE_NVS_INIT      0x0201u
#define TRINITY_STAGE_NVS_LOAD      0x0202u
#define TRINITY_STAGE_LOG_INIT      0x0203u
#define TRINITY_STAGE_WDT_INIT      0x0301u
#define TRINITY_STAGE_BT_ENABLE     0x0302u
#define TRINITY_STAGE_BT_ADV        0x0303u
#define TRINITY_STAGE_MAIN_LOOP     0x0304u

extern volatile uint32_t g_init_stage;

/**************************** CORE FLASH LOG API ******************************/

int  trinity_log_init(void);
void trinity_log_dump_previous(void);
int  trinity_log_erase(void);
void trinity_log_event(const char *p_msg);
void trinity_log_event(const char *p_msg);
void trinity_log_flush(void);     /* drain deferred log before sleep or __noreturn paths */
/**************************** WATCHDOG ****************************************/

void trinity_wdt_init(void);
void trinity_wdt_kick(void);

/**************************** HEAP AND TASK STATS *****************************/

void trinity_log_heap_stats(void);
void trinity_log_task_stats(void);

/**************************** INTERNAL INIT (called by trinity_flash_esp.c) **/

void trinity_canary_set_booted(void);
int  trinity_log_stats_init(void);

/**************************** NVS PERSISTENCE *********************************/

int      trinity_nvs_init(void);
uint32_t trinity_nvs_read_motion_count(void);
int      trinity_nvs_write_motion_count(uint32_t val);

#endif /* INCLUDE_TRINITY_LOG_H_ */
```
